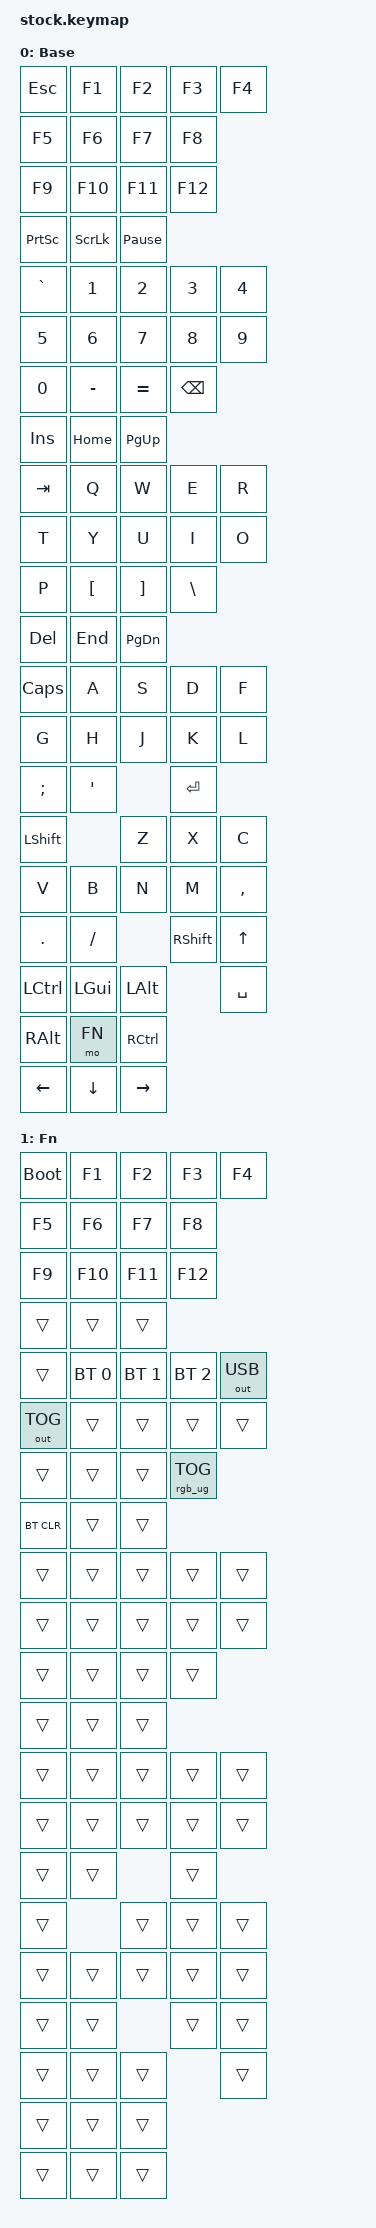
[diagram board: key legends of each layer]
/*
 * Wobkey Crush 80 — Stock QWERTY keymap
 *
 * Layer 0: Standard QWERTY with F1-F12, no home row mods
 * Layer 1: Fn — BT profiles, output toggle, RGB, bootloader
 */

#include <behaviors.dtsi>
#include <dt-bindings/zmk/keys.h>
#include <dt-bindings/zmk/bt.h>
#include <dt-bindings/zmk/outputs.h>
#include <dt-bindings/zmk/rgb.h>

#define BASE 0
#define FN   1

/ {
	keymap {
		compatible = "zmk,keymap";

		default_layer {
			display-name = "Base";
			bindings = <
				/* Row 0: F-row (16 keys) */
				&kp ESC       &kp F1        &kp F2        &kp F3        &kp F4
				&kp F5        &kp F6        &kp F7        &kp F8
				&kp F9        &kp F10       &kp F11       &kp F12
				&kp PSCRN     &kp SLCK      &kp PAUSE_BREAK
				/* Row 1: number row + nav cluster (17 keys) */
				&kp GRAVE     &kp N1        &kp N2        &kp N3        &kp N4
				&kp N5        &kp N6        &kp N7        &kp N8        &kp N9
				&kp N0        &kp MINUS     &kp EQUAL     &kp BSPC
				&kp INS       &kp HOME      &kp PG_UP
				/* Row 2: QWERTY + nav cluster (17 keys) */
				&kp TAB       &kp Q         &kp W         &kp E         &kp R
				&kp T         &kp Y         &kp U         &kp I         &kp O
				&kp P         &kp LBKT      &kp RBKT      &kp BSLH
				&kp DEL       &kp END       &kp PG_DN
				/* Row 3: home row (13 keys) */
				&kp CAPS      &kp A         &kp S         &kp D         &kp F
				&kp G         &kp H         &kp J         &kp K         &kp L
				&kp SEMI      &kp SQT                     &kp RET
				/* Row 4: shift row (13 keys) */
				&kp LSHFT                   &kp Z         &kp X         &kp C
				&kp V         &kp B         &kp N         &kp M         &kp COMMA
				&kp DOT       &kp FSLH                    &kp RSHFT     &kp UP
				/* Row 5: bottom row (10 keys) */
				&kp LCTRL     &kp LGUI      &kp LALT                    &kp SPACE
				&kp RALT      &mo FN        &kp RCTRL
				&kp LEFT      &kp DOWN      &kp RIGHT
			>;
		};

		fn_layer {
			display-name = "Fn";
			bindings = <
				/* Row 0: bootloader + F1-F12 + trans (16 keys) */
				&bootloader   &kp F1        &kp F2        &kp F3        &kp F4
				&kp F5        &kp F6        &kp F7        &kp F8
				&kp F9        &kp F10       &kp F11       &kp F12
				&trans        &trans        &trans
				/* Row 1: BT/output + RGB_TOG on Bspc + BT_CLR on Ins (17 keys) */
				&trans        &bt BT_SEL 0  &bt BT_SEL 1  &bt BT_SEL 2  &out OUT_USB
				&out OUT_TOG  &trans        &trans        &trans        &trans
				&trans        &trans        &trans        &rgb_ug RGB_TOG
				&bt BT_CLR    &trans        &trans
				/* Row 2: all trans (17 keys) */
				&trans        &trans        &trans        &trans        &trans
				&trans        &trans        &trans        &trans        &trans
				&trans        &trans        &trans        &trans
				&trans        &trans        &trans
				/* Row 3: all trans (13 keys) */
				&trans        &trans        &trans        &trans        &trans
				&trans        &trans        &trans        &trans        &trans
				&trans        &trans                      &trans
				/* Row 4: all trans (13 keys) */
				&trans                      &trans        &trans        &trans
				&trans        &trans        &trans        &trans        &trans
				&trans        &trans                      &trans        &trans
				/* Row 5: all trans (10 keys) */
				&trans        &trans        &trans                      &trans
				&trans        &trans        &trans
				&trans        &trans        &trans
			>;
		};
	};
};
